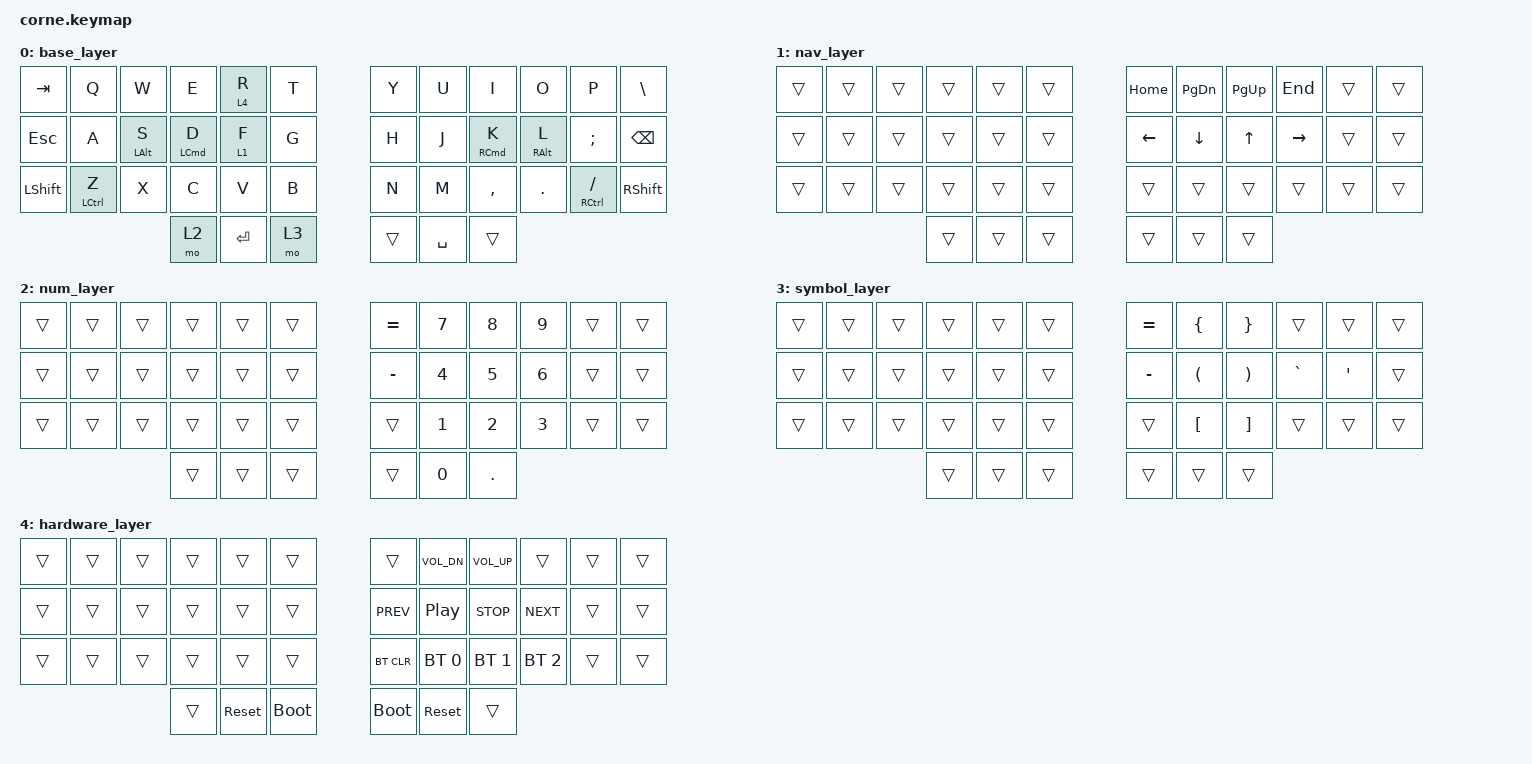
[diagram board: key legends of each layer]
/*
 * Copyright (c) 2020 The ZMK Contributors
 *
 * SPDX-License-Identifier: MIT
 */

#include <behaviors.dtsi>
#include <dt-bindings/zmk/keys.h>
#include <dt-bindings/zmk/bt.h>

&nice_view_spi {
  cs-gpios = <&pro_micro 0 GPIO_ACTIVE_HIGH>;
};

/ {
		behaviors {
			hm: homerow_mods {
				compatible = "zmk,behavior-hold-tap";
				label = "HOMEROW_MODS";
				#binding-cells = <2>;
				tapping-term-ms = <200>;
				quick-tap-ms = <0>;
				flavor = "balanced";
				bindings = <&kp>, <&kp>;
			};
		};
        keymap {
                compatible = "zmk,keymap";

                base_layer {
                        bindings = <
// -----------------------------------------------------------------------------------------------------------------------------------
// |   TAB   |    Q      |    W     |    E     |   L4/R  |    T    |         |    Y    |    U    |    I    |    O    |    P    |    \    |
// |   ESC   |    A      |  ALT/S   |  CMD/D   |   L1/F  |    G    |         |    H    |    J    |  CMD/K  |  ALT/L  |    ;    |   BKSP  |
// |   SHFT  |  CTRL/Z   |    X     |    C     |    V    |    B    |         |    N    |    M    |    ,    |    .    |  CTRL / |   SHFT  |
//                                  |    L2    |   ENT   |    L3   |         |         |   SPC   |         |
   &kp TAB   &kp Q       &kp W      &kp E      &lt 4 R   &kp T               &kp Y     &kp U     &kp I     &kp O     &kp P     &kp BSLH
   &kp ESC   &kp A       &hm LALT S &hm LCMD D &lt 1 F   &kp G               &kp H     &kp J    &hm RCMD K &hm RALT L &kp SEMI &kp BSPC
   &kp LSHFT &mt LCTRL Z &kp X      &kp C      &kp V     &kp B               &kp N     &kp M     &kp COMMA &kp DOT &mt RCTRL FSLH &kp RSHFT
                                    &mo 2      &kp RET   &mo 3               &trans    &kp SPACE &trans
                        >;
                };
                nav_layer {
// -----------------------------------------------------------------------------------------------------------------------------------
// |         |         |         |         |         |         |         |  HOME   |  PG_DN  |  PG_UP  |   END   |         |         |
// |         |         |         |         |         |         |         |  LEFT   |  DOWN   |    UP   |  RIGHT  |         |         |
// |         |         |         |         |         |         |         |         |         |         |         |         |         |
//                               |         |         |         |         |         |         |         |
                        bindings = <
   &trans    &trans    &trans    &trans    &trans    &trans              &kp HOME  &kp PG_DN &kp PG_UP &kp END   &trans    &trans
   &trans    &trans    &trans    &trans    &trans    &trans              &kp LEFT  &kp DOWN  &kp UP    &kp RIGHT &trans    &trans
   &trans    &trans    &trans    &trans    &trans    &trans              &trans    &trans    &trans    &trans    &trans    &trans
                                 &trans    &trans    &trans              &trans    &trans    &trans
                        >;
                };
                num_layer {
// -----------------------------------------------------------------------------------------------------------------------------------
// |         |         |         |         |         |         |         |    =    |    7    |    8    |    9    |         |         |
// |         |         |         |         |         |         |         |    -    |    4    |    5    |    6    |         |         |
// |         |         |         |         |         |         |         |         |    1    |    2    |    3    |         |         |
//                               |         |         |         |         |         |    0    |    .    |
                        bindings = <
   &trans    &trans    &trans    &trans    &trans    &trans              &kp EQUAL &kp N7    &kp N8    &kp N9    &trans    &trans
   &trans    &trans    &trans    &trans    &trans    &trans              &kp MINUS &kp N4    &kp N5    &kp N6    &trans    &trans
   &trans    &trans    &trans    &trans    &trans    &trans              &trans    &kp N1    &kp N2    &kp N3    &trans    &trans
                                 &trans    &trans    &trans              &trans    &kp N0    &kp DOT
                        >;
                };
                symbol_layer {
// -----------------------------------------------------------------------------------------------------------------------------------
// |         |         |         |         |         |         |         |    =    |    {    |    }    |         |         |         |
// |         |         |         |         |         |         |         |    -    |    (    |    )    |    `    |    '    |         |
// |         |         |         |         |         |         |         |         |    [    |    ]    |         |         |         |
//                               |         |         |         |         |         |         |         |
                        bindings = <
   &trans    &trans    &trans    &trans    &trans    &trans              &kp EQUAL &kp LBRC  &kp RBRC  &trans    &trans    &trans
   &trans    &trans    &trans    &trans    &trans    &trans              &kp MINUS &kp LPAR  &kp RPAR  &kp GRAVE &kp SQT   &trans
   &trans    &trans    &trans    &trans    &trans    &trans              &trans    &kp LBKT  &kp RBKT  &trans    &trans    &trans
                                 &trans    &trans    &trans              &trans    &trans    &trans
                        >;
                };
                hardware_layer {
// -----------------------------------------------------------------------------------------------------------------------------------
// |         |         |         |         |         |         |         |         | VOL_DOWN|  VOL_UP |         |         |         |
// |         |         |         |         |         |         |         |   PREV  |PLAY/PAUS|  STOP   |   NEXT  |         |         |
// |         |         |         |         |         |         |         |   BTCLR |   BT1   |   BT2   |   BT3   |         |         |
//                               |         |  RESET  | BOOTLOAD|         | BOOTLOAD|  RESET  |         |
                        bindings = <
   &trans    &trans    &trans    &trans    &trans    &trans              &trans &kp C_VOL_DN &kp C_VOL_UP &trans &trans    &trans
   &trans    &trans    &trans    &trans    &trans    &trans              &kp C_PREV &kp C_PP &kp C_STOP &kp C_NEXT &trans  &trans
   &trans    &trans    &trans    &trans    &trans    &trans              &bt BT_CLR &bt BT_SEL 0 &bt BT_SEL 1 &bt BT_SEL 2 &trans &trans
                                 &trans    &sys_reset &bootloader        &bootloader &sys_reset  &trans
                        >;
                };
        };
};
